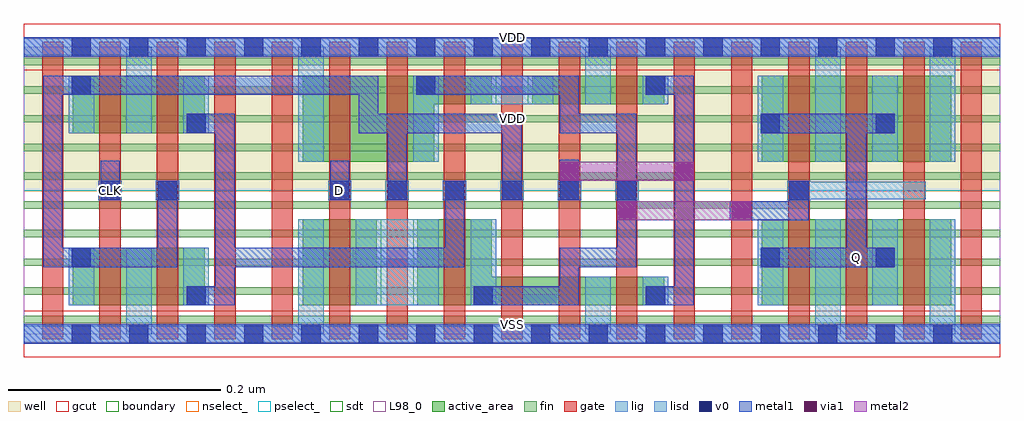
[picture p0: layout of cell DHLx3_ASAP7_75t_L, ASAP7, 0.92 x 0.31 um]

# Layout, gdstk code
import gdstk
lib = gdstk.Library(unit=1e-6, precision=2.5e-10)
def R(c, l, rs):  # rectangles x0, y0, x1, y1
    for r in rs: c.add(gdstk.rectangle(r[:2], r[2:], *l))
def A(c, l, x, y, w, h, nx, ny, dx, dy):  # array of equal rectangles
    R(c, l, [(x+i*dx, y+j*dy, x+i*dx+w, y+j*dy+h) for i in range(nx) for j in range(ny)])
def P(c, l, *ps):  # polygons
    for p in ps: c.add(gdstk.Polygon(p, *l))
well = (1, 0)
fin = (2, 0)
gate = (7, 0)
gcut = (10, 0)
active_area = (11, 0)
nselect_ = (12, 0)
pselect_ = (13, 0)
lig = (16, 0)
lisd = (17, 0)
v0 = (18, 0)
metal1 = (19, 0)
metal2 = (20, 0)
via1 = (21, 0)
sdt = (88, 0)
L98_0 = (98, 0)
boundary = (100, 0)

dhlx3_asap7_75t_l = lib.new_cell('DHLx3_ASAP7_75t_L')
R(dhlx3_asap7_75t_l, well, [(0,0.135,0.918,0.27)])
A(dhlx3_asap7_75t_l, fin, 0, 0.01, 0.918, 0.007, 1, 10, 0, 0.027)
A(dhlx3_asap7_75t_l, gate, 0.017, -0.005, 0.02, 0.28, 17, 1, 0.054, 0)
R(dhlx3_asap7_75t_l, gcut, [(0,-0.022,0.918,0.022), (0,0.248,0.918,0.292)])
R(dhlx3_asap7_75t_l, active_area, [(0.046,0.027,0.17,0.081), (0.262,0.027,0.332,0.108), (0.694,0.027,0.872,0.108), (0.694,0.162,0.872,0.243), (0.046,0.189,0.17,0.243), (0.478,0.216,0.602,0.243)])
P(dhlx3_asap7_75t_l, active_area, [(0.37,0.027),(0.37,0.108),(0.44,0.108),(0.44,0.054),(0.602,0.054),(0.602,0.027)],
  [(0.262,0.162),(0.262,0.243),(0.44,0.243),(0.44,0.216),(0.386,0.216),(0.386,0.162)])
R(dhlx3_asap7_75t_l, nselect_, [(0,0,0.918,0.135)])
R(dhlx3_asap7_75t_l, pselect_, [(0,0.135,0.918,0.27)])
A(dhlx3_asap7_75t_l, lig, 0.286, 0.126, 0.022, 0.018, 6, 1, 0.054, 0)
R(dhlx3_asap7_75t_l, lig, [(0,-0.008,0.918,0.008), (0.07,0.126,0.092,0.144), (0.124,0.126,0.146,0.144), (0.718,0.126,0.74,0.144), (0.718,0.127,0.848,0.143), (0,0.262,0.918,0.278)])
R(dhlx3_asap7_75t_l, lisd, [(0.096,0,0.12,0.081), (0.096,0,0.12,0.081), (0.258,0,0.282,0.108), (0.258,0,0.282,0.108), (0.528,0,0.552,0.054), (0.744,0,0.768,0.108), (0.744,0,0.768,0.108), (0.852,0,0.876,0.108), (0.852,0,0.876,0.108), (0.042,0.027,0.066,0.081), (0.15,0.027,0.174,0.081), (0.312,0.027,0.39,0.108), (0.42,0.027,0.444,0.108), (0.582,0.027,0.606,0.054), (0.69,0.027,0.714,0.108), (0.798,0.027,0.822,0.108), (0.258,0.162,0.282,0.27), (0.258,0.162,0.282,0.27), (0.366,0.162,0.39,0.243), (0.69,0.162,0.714,0.243), (0.744,0.162,0.768,0.27), (0.744,0.162,0.768,0.27), (0.798,0.162,0.822,0.243), (0.852,0.162,0.876,0.27), (0.852,0.162,0.876,0.27), (0.042,0.189,0.066,0.243), (0.096,0.189,0.12,0.27), (0.096,0.189,0.12,0.27), (0.15,0.189,0.174,0.243), (0.42,0.216,0.498,0.243), (0.528,0.216,0.552,0.27), (0.582,0.216,0.606,0.243)])
A(dhlx3_asap7_75t_l, v0, 0.045, -0.009, 0.018, 0.018, 16, 2, 0.054, 0.27)
A(dhlx3_asap7_75t_l, v0, 0.288, 0.126, 0.018, 0.018, 6, 1, 0.054, 0)
R(dhlx3_asap7_75t_l, v0, [(0.153,0.027,0.171,0.045), (0.423,0.027,0.441,0.045), (0.585,0.027,0.603,0.045), (0.045,0.063,0.063,0.081), (0.693,0.063,0.711,0.081), (0.801,0.063,0.819,0.081), (0.072,0.126,0.09,0.144), (0.126,0.126,0.144,0.144), (0.72,0.126,0.738,0.144), (0.153,0.189,0.171,0.207), (0.693,0.189,0.711,0.207), (0.801,0.189,0.819,0.207), (0.045,0.225,0.063,0.243), (0.369,0.225,0.387,0.243), (0.585,0.225,0.603,0.243)])
A(dhlx3_asap7_75t_l, metal1, 0.072, 0.126, 0.018, 0.037, 3, 1, 0.216, 0)
A(dhlx3_asap7_75t_l, metal1, 0.288, 0.126, 0.018, 0.018, 6, 1, 0.054, 0)
R(dhlx3_asap7_75t_l, metal1, [(0,-0.009,0.918,0.009), (0.153,0.027,0.171,0.045), (0.423,0.027,0.441,0.045), (0.585,0.027,0.603,0.045), (0.045,0.063,0.063,0.081), (0.693,0.063,0.711,0.081), (0.801,0.063,0.819,0.081), (0.558,0.107,0.576,0.125), (0.664,0.107,0.686,0.125), (0.072,0.126,0.09,0.144), (0.126,0.126,0.144,0.144), (0.72,0.126,0.738,0.144), (0.504,0.144,0.522,0.164), (0.612,0.144,0.63,0.162), (0.153,0.189,0.171,0.207), (0.693,0.189,0.711,0.207), (0.801,0.189,0.819,0.207), (0.045,0.225,0.063,0.243), (0.369,0.225,0.387,0.243), (0.585,0.225,0.603,0.243), (0,0.261,0.918,0.279)])
P(dhlx3_asap7_75t_l, metal1, [(0.018,0.063),(0.018,0.243),(0.333,0.243),(0.333,0.207),(0.468,0.207),(0.468,0.126),(0.45,0.126),(0.45,0.189),(0.36,0.189),(0.36,0.126),(0.342,0.126),(0.342,0.189),(0.315,0.189),(0.315,0.225),(0.036,0.225),(0.036,0.081),(0.126,0.081),(0.126,0.144),(0.144,0.144),(0.144,0.063)],
  [(0.153,0.027),(0.153,0.045),(0.18,0.045),(0.18,0.189),(0.153,0.189),(0.153,0.207),(0.198,0.207),(0.198,0.081),(0.396,0.081),(0.396,0.144),(0.414,0.144),(0.414,0.063),(0.198,0.063),(0.198,0.027)],
  [(0.423,0.027),(0.423,0.045),(0.504,0.045),(0.504,0.081),(0.558,0.081),(0.558,0.189),(0.504,0.189),(0.504,0.225),(0.369,0.225),(0.369,0.243),(0.522,0.243),(0.522,0.207),(0.576,0.207),(0.576,0.063),(0.522,0.063),(0.522,0.027)],
  [(0.666,0.107),(0.666,0.125),(0.72,0.125),(0.72,0.144),(0.738,0.144),(0.738,0.107)],
  [(0.585,0.027),(0.585,0.045),(0.612,0.045),(0.612,0.225),(0.585,0.225),(0.585,0.243),(0.63,0.243),(0.63,0.027)],
  [(0.693,0.063),(0.693,0.081),(0.774,0.081),(0.774,0.189),(0.693,0.189),(0.693,0.207),(0.819,0.207),(0.819,0.189),(0.792,0.189),(0.792,0.081),(0.819,0.081),(0.819,0.063)])
R(dhlx3_asap7_75t_l, metal2, [(0.558,0.107,0.684,0.125), (0.504,0.144,0.63,0.162)])
R(dhlx3_asap7_75t_l, via1, [(0.558,0.107,0.576,0.125), (0.666,0.107,0.684,0.125), (0.504,0.144,0.522,0.162), (0.612,0.144,0.63,0.162)])
A(dhlx3_asap7_75t_l, sdt, 0.258, 0.027, 0.024, 0.081, 4, 1, 0.054, 0)
A(dhlx3_asap7_75t_l, sdt, 0.744, 0.027, 0.024, 0.081, 3, 2, 0.054, 0.135)
A(dhlx3_asap7_75t_l, sdt, 0.42, 0.216, 0.024, 0.027, 4, 1, 0.054, 0)
R(dhlx3_asap7_75t_l, sdt, [(0.042,0.027,0.066,0.081), (0.096,0.027,0.12,0.081), (0.096,0.027,0.12,0.081), (0.15,0.027,0.174,0.081), (0.258,0.027,0.282,0.108), (0.528,0.027,0.552,0.054), (0.582,0.027,0.606,0.054), (0.69,0.027,0.714,0.108), (0.744,0.027,0.768,0.108), (0.852,0.027,0.876,0.108), (0.258,0.162,0.282,0.243), (0.258,0.162,0.282,0.243), (0.366,0.162,0.39,0.243), (0.69,0.162,0.714,0.243), (0.744,0.162,0.768,0.243), (0.852,0.162,0.876,0.243), (0.042,0.189,0.066,0.243), (0.096,0.189,0.12,0.243), (0.096,0.189,0.12,0.243), (0.15,0.189,0.174,0.243)])
R(dhlx3_asap7_75t_l, L98_0, [(0,0,0.918,0.27)])
R(dhlx3_asap7_75t_l, boundary, [(0,0,0.918,0.27)])
dhlx3_asap7_75t_l.add(gdstk.Label('VDD', (0.459,0.2025), layer=1, texttype=251))
dhlx3_asap7_75t_l.add(gdstk.Label('VSS', (0.459,-0.0675), layer=3, texttype=251))
dhlx3_asap7_75t_l.add(gdstk.Label('VSS', (0.459,0.009), layer=19, texttype=251))
dhlx3_asap7_75t_l.add(gdstk.Label('VDD', (0.459,0.279), layer=19, texttype=251))
dhlx3_asap7_75t_l.add(gdstk.Label('CLK', (0.081,0.135), layer=19, texttype=251))
dhlx3_asap7_75t_l.add(gdstk.Label('D', (0.297,0.135), layer=19, texttype=251))
dhlx3_asap7_75t_l.add(gdstk.Label('Q', (0.783,0.072), layer=19, texttype=251))

lib.write_gds('DHLx3_ASAP7_75t_L.gds')
